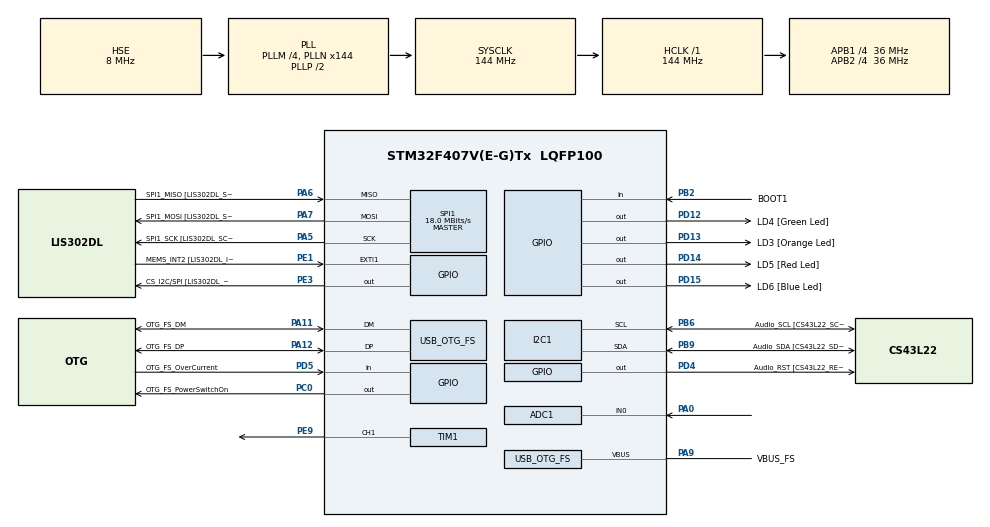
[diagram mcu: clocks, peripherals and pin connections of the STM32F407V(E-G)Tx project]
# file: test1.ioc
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ADC1.ClockPrescaler=ADC_CLOCK_SYNC_PCLK_DIV8
ADC1.ContinuousConvMode=ENABLE
ADC1.DMAContinuousRequests=ENABLE
ADC1.EOCSelection=ADC_EOC_SEQ_CONV
ADC1.EnableAnalogWatchDog=false
ADC1.NbrOfConversionFlag=1
ADC1.master=1
Dma.ADC1.1.Direction=DMA_PERIPH_TO_MEMORY
Dma.ADC1.1.FIFOMode=DMA_FIFOMODE_DISABLE
Dma.ADC1.1.Instance=DMA2_Stream0
Dma.ADC1.1.MemDataAlignment=DMA_MDATAALIGN_HALFWORD
Dma.ADC1.1.MemInc=DMA_MINC_ENABLE
Dma.ADC1.1.Mode=DMA_NORMAL
Dma.ADC1.1.PeriphDataAlignment=DMA_PDATAALIGN_HALFWORD
Dma.ADC1.1.PeriphInc=DMA_PINC_DISABLE
Dma.ADC1.1.Priority=DMA_PRIORITY_HIGH
Dma.Request0=TIM1_CH1
Dma.Request1=ADC1
Dma.TIM1_CH1.0.Direction=DMA_MEMORY_TO_PERIPH
Dma.TIM1_CH1.0.FIFOMode=DMA_FIFOMODE_DISABLE
Dma.TIM1_CH1.0.Instance=DMA2_Stream1
Dma.TIM1_CH1.0.MemDataAlignment=DMA_MDATAALIGN_HALFWORD
Dma.TIM1_CH1.0.MemInc=DMA_MINC_ENABLE
Dma.TIM1_CH1.0.Mode=DMA_NORMAL
Dma.TIM1_CH1.0.PeriphDataAlignment=DMA_PDATAALIGN_HALFWORD
Dma.TIM1_CH1.0.PeriphInc=DMA_PINC_DISABLE
Dma.TIM1_CH1.0.Priority=DMA_PRIORITY_LOW
Mcu.Family=STM32F4
Mcu.Name=STM32F407V(E-G)Tx
Mcu.Package=LQFP100
NVIC.DMA2_Stream0_IRQn=true\:0\:0\:false\:false\:true\:false\:true
NVIC.DMA2_Stream1_IRQn=true\:0\:0\:false\:false\:true\:false\:true
NVIC.OTG_FS_IRQn=true\:0\:0\:false\:false\:true\:true\:true
NVIC.PriorityGroup=NVIC_PRIORITYGROUP_0
PA0-WKUP.Signal=ADCx_IN0
PA10.GPIO_Label=OTG_FS_ID
PA10.GPIO_Mode=GPIO_MODE_AF_PP
PA10.GPIO_PuPd=GPIO_NOPULL
PA10.GPIO_Speed=GPIO_SPEED_FREQ_LOW
PA10.Signal=USB_OTG_FS_ID
PA11.GPIO_Label=OTG_FS_DM
PA11.GPIO_Mode=GPIO_MODE_AF_PP
PA11.GPIO_PuPd=GPIO_NOPULL
PA11.GPIO_Speed=GPIO_SPEED_FREQ_LOW
PA11.Mode=Host_Only
PA11.Signal=USB_OTG_FS_DM
PA12.GPIO_Label=OTG_FS_DP
PA12.GPIO_Mode=GPIO_MODE_AF_PP
PA12.GPIO_PuPd=GPIO_NOPULL
PA12.GPIO_Speed=GPIO_SPEED_FREQ_LOW
PA12.Mode=Host_Only
PA12.Signal=USB_OTG_FS_DP
PA13.GPIO_Label=SWDIO
PA13.Signal=SYS_JTMS-SWDIO
PA14.GPIO_Label=SWCLK
PA14.Signal=SYS_JTCK-SWCLK
PA4.GPIO_Label=I2S3_WS [CS43L22_LRCK]
PA4.GPIO_Mode=GPIO_MODE_AF_PP
PA4.GPIO_PuPd=GPIO_NOPULL
PA4.GPIO_Speed=GPIO_SPEED_FREQ_LOW
PA4.Signal=I2S3_WS
PA5.GPIO_Label=SPI1_SCK [LIS302DL_SCL/SPC]
PA5.GPIO_Mode=GPIO_MODE_AF_PP
PA5.GPIO_PuPd=GPIO_NOPULL
PA5.GPIO_Speed=GPIO_SPEED_FREQ_LOW
PA5.Mode=Full_Duplex_Master
PA5.Signal=SPI1_SCK
PA6.GPIO_Label=SPI1_MISO [LIS302DL_SDO]
PA6.GPIO_Mode=GPIO_MODE_AF_PP
PA6.GPIO_PuPd=GPIO_NOPULL
PA6.GPIO_Speed=GPIO_SPEED_FREQ_LOW
PA6.Mode=Full_Duplex_Master
PA6.Signal=SPI1_MISO
PA7.GPIO_Label=SPI1_MOSI [LIS302DL_SDA/SDI/SDO]
PA7.GPIO_Mode=GPIO_MODE_AF_PP
PA7.GPIO_PuPd=GPIO_NOPULL
PA7.GPIO_Speed=GPIO_SPEED_FREQ_LOW
PA7.Mode=Full_Duplex_Master
PA7.Signal=SPI1_MOSI
PA9.GPIO_Label=VBUS_FS
PA9.GPIO_Mode=GPIO_MODE_INPUT
PA9.GPIO_PuPd=GPIO_NOPULL
PA9.Mode=Activate_VBUS
PA9.Signal=USB_OTG_FS_VBUS
PB10.GPIO_Label=CLK_IN [MP45DT02_CLK]
PB10.GPIO_Mode=GPIO_MODE_AF_PP
PB10.GPIO_PuPd=GPIO_NOPULL
PB10.GPIO_Speed=GPIO_SPEED_FREQ_LOW
PB10.Signal=I2S2_CK
PB2.GPIO_Label=BOOT1
PB2.GPIO_Mode=GPIO_MODE_INPUT
PB2.GPIO_PuPd=GPIO_NOPULL
PB2.Signal=GPIO_Input
PB3.GPIO_Label=SWO
PB3.Signal=SYS_JTDO-SWO
PB6.GPIO_Label=Audio_SCL [CS43L22_SCL]
PB6.GPIO_Mode=GPIO_MODE_AF_OD
PB6.GPIO_Pu=GPIO_PULLUP
PB6.GPIO_PuPd=GPIO_NOPULL
PB6.GPIO_Speed=GPIO_SPEED_FREQ_LOW
PB6.Mode=I2C
PB6.Signal=I2C1_SCL
PB9.GPIO_Label=Audio_SDA [CS43L22_SDA]
PB9.GPIO_Mode=GPIO_MODE_AF_OD
PB9.GPIO_Pu=GPIO_PULLUP
PB9.GPIO_PuPd=GPIO_NOPULL
PB9.GPIO_Speed=GPIO_SPEED_FREQ_LOW
PB9.Mode=I2C
PB9.Signal=I2C1_SDA
PC0.GPIO_Label=OTG_FS_PowerSwitchOn
PC0.GPIO_PuPd=GPIO_NOPULL
PC0.GPIO_Speed=GPIO_SPEED_FREQ_LOW
PC0.PinState=GPIO_PIN_SET
PC0.Signal=GPIO_Output
PC10.GPIO_Label=I2S3_SCK [CS43L22_SCLK]
PC10.GPIO_Mode=GPIO_MODE_AF_PP
PC10.GPIO_PuPd=GPIO_NOPULL
PC10.GPIO_Speed=GPIO_SPEED_FREQ_LOW
PC10.Signal=I2S3_CK
PC12.GPIO_Label=I2S3_SD [CS43L22_SDIN]
PC12.GPIO_Mode=GPIO_MODE_AF_PP
PC12.GPIO_PuPd=GPIO_NOPULL
PC12.GPIO_Speed=GPIO_SPEED_FREQ_LOW
PC12.Signal=I2S3_SD
PC14-OSC32_IN.GPIO_Label=PC14-OSC32_IN
PC14-OSC32_IN.Signal=RCC_OSC32_IN
PC15-OSC32_OUT.GPIO_Label=PC15-OSC32_OUT
PC15-OSC32_OUT.Signal=RCC_OSC32_OUT
PC3.GPIO_Label=PDM_OUT [MP45DT02_DOUT]
PC3.GPIO_Mode=GPIO_MODE_AF_PP
PC3.GPIO_PuPd=GPIO_NOPULL
PC3.GPIO_Speed=GPIO_SPEED_FREQ_LOW
PC3.Signal=I2S2_SD
PC7.GPIO_Label=I2S3_MCK [CS43L22_MCLK]
PC7.GPIO_Mode=GPIO_MODE_AF_PP
PC7.GPIO_PuPd=GPIO_NOPULL
PC7.GPIO_Speed=GPIO_SPEED_FREQ_LOW
PC7.Signal=I2S3_MCK
PD12.GPIO_Label=LD4 [Green Led]
PD12.GPIO_PuPd=GPIO_NOPULL
PD12.GPIO_Speed=GPIO_SPEED_FREQ_LOW
PD12.Signal=GPIO_Output
PD13.GPIO_Label=LD3 [Orange Led]
PD13.GPIO_PuPd=GPIO_NOPULL
PD13.GPIO_Speed=GPIO_SPEED_FREQ_LOW
PD13.Signal=GPIO_Output
PD14.GPIO_Label=LD5 [Red Led]
PD14.GPIO_PuPd=GPIO_NOPULL
PD14.GPIO_Speed=GPIO_SPEED_FREQ_LOW
PD14.Signal=GPIO_Output
PD15.GPIO_Label=LD6 [Blue Led]
PD15.GPIO_PuPd=GPIO_NOPULL
PD15.GPIO_Speed=GPIO_SPEED_FREQ_LOW
PD15.Signal=GPIO_Output
PD4.GPIO_Label=Audio_RST [CS43L22_RESET]
PD4.GPIO_PuPd=GPIO_NOPULL
PD4.GPIO_Speed=GPIO_SPEED_FREQ_LOW
PD4.Signal=GPIO_Output
PD5.GPIO_Label=OTG_FS_OverCurrent
PD5.GPIO_Mode=GPIO_MODE_INPUT
PD5.GPIO_PuPd=GPIO_NOPULL
PD5.Signal=GPIO_Input
PE1.GPIO_Label=MEMS_INT2 [LIS302DL_INT2]
PE1.GPIO_ModeDefaultEXTI=GPIO_MODE_EVT_RISING
PE1.GPIO_PuPd=GPIO_NOPULL
PE1.Signal=GPXTI1
PE3.GPIO_Label=CS_I2C/SPI [LIS302DL_CS_I2C/SPI]
PE3.GPIO_PuPd=GPIO_NOPULL
PE3.GPIO_Speed=GPIO_SPEED_FREQ_LOW
PE3.Signal=GPIO_Output
PE9.Signal=S_TIM1_CH1
PH0-OSC_IN.GPIO_Label=PH0-OSC_IN
PH0-OSC_IN.Mode=HSE-External-Oscillator
PH0-OSC_IN.Signal=RCC_OSC_IN
PH1-OSC_OUT.GPIO_Label=PH1-OSC_OUT
PH1-OSC_OUT.Mode=HSE-External-Oscillator
PH1-OSC_OUT.Signal=RCC_OSC_OUT
ProjectManager.HeapSize=0x200
ProjectManager.StackSize=0x400
ProjectManager.TargetToolchain=STM32CubeIDE
RCC.48MHZClocksFreq_Value=48000000
RCC.AHBFreq_Value=144000000
RCC.APB1CLKDivider=RCC_HCLK_DIV4
RCC.APB1Freq_Value=36000000
RCC.APB1TimFreq_Value=72000000
RCC.APB2CLKDivider=RCC_HCLK_DIV4
RCC.APB2Freq_Value=36000000
RCC.APB2TimFreq_Value=72000000
RCC.CortexFreq_Value=144000000
RCC.HCLKFreq_Value=144000000
RCC.HSE_VALUE=8000000
RCC.HSI_VALUE=16000000
RCC.LSE_VALUE=32768
RCC.PLLI2SN=50
RCC.PLLM=4
RCC.PLLN=144
RCC.PLLQ=6
RCC.SYSCLKFreq_VALUE=144000000
RCC.SYSCLKSource=RCC_SYSCLKSOURCE_PLLCLK
RCC.VCOOutputFreq_Value=288000000
SH.ADCx_IN0.0=ADC1_IN0,IN0
SH.S_TIM1_CH1.0=TIM1_CH1,PWM Generation1 CH1
SPI1.BaudRatePrescaler=SPI_BAUDRATEPRESCALER_2
SPI1.BaudRatePrescaler-Full_Duplex_Master=SPI_BAUDRATEPRESCALER_2
SPI1.CalculateBaudRate=18.0 MBits/s
SPI1.CalculateBaudRate-Full_Duplex_Master=42.0 MBits/s
SPI1.Direction=SPI_DIRECTION_2LINES
SPI1.Mode=SPI_MODE_MASTER
SPI1.Mode-Full_Duplex_Master=SPI_MODE_MASTER
SPI1.VirtualType=VM_MASTER
TIM1.Channel-PWM\ Generation1\ CH1=TIM_CHANNEL_1
TIM1.Period=90-1
USB_HOST.BSP.number=1
USB_HOST.USBH_HandleTypeDef-CDC_FS=hUsbHostFS
USB_HOST.VirtualModeFS=Cdc
USB_HOST0.BSP.STBoard=false
USB_HOST0.BSP.api=Unknown
USB_HOST0.BSP.i2caddr=0
USB_HOST0.BSP.i2creg=0
USB_HOST0.BSP.instance=PC0
USB_HOST0.BSP.ip=GPIO
USB_HOST0.BSP.mode=Output
USB_HOST0.BSP.name=Drive_VBUS_FS
USB_HOST0.BSP.solution=PC0
USB_OTG_FS.VirtualMode=Host_Only
USB_OTG_FS.phy_itface=HCD_PHY_EMBEDDED
VP_TIM1_VS_ClockSourceINT.Mode=Internal
VP_USB_HOST_VS_USB_HOST_CDC_FS.Mode=CDC_FS
board=STM32F407G-DISC1

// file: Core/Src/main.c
/* USER CODE BEGIN Header */
/**
  ******************************************************************************
  * @file           : main.c
  * @brief          : Main program body
  ******************************************************************************
  * @attention
  *
  * <h2><center>&copy; Copyright (c) 2021 STMicroelectronics.
  * All rights reserved.</center></h2>
  *
  * This software component is licensed by ST under Ultimate Liberty license
  * SLA0044, the "License"; You may not use this file except in compliance with
  * the License. You may obtain a copy of the License at:
  *                             www.st.com/SLA0044
  *
  ******************************************************************************

  * Souces used:
  * for ADC:    https://istarik.ru/blog/stm32/113.html
  * for matrix: https://controllerstech.com/interface-ws2812-with-stm32/
  * for fft:    https://github.com/kosme/arduinoFFT
  */

/* USER CODE END Header */
#include "main.h"
#include "usb_host.h"

/* USER CODE BEGIN Includes */
#include <string.h>
#include "fft.h"
/* USER CODE END Includes */

/* USER CODE BEGIN PD */
#define MATRIX_ROW			8
#define MAX_LED 			64 						// max LEDs that we have in a cascade
#define SAMPLES		        2048					// number of samples for adc
#define ADC_REGULAR_RANK_1	((uint32_t)0x00000001)	// ADC regular conversion rank 1

/* USER CODE END PD */

ADC_HandleTypeDef hadc1;
DMA_HandleTypeDef hdma_adc1;

I2C_HandleTypeDef hi2c1;

SPI_HandleTypeDef hspi1;

TIM_HandleTypeDef htim1;
DMA_HandleTypeDef hdma_tim1_ch1;

/* USER CODE BEGIN PV */

uint8_t datasentflag = 0;  // to make sure that the dma does not send another data while the first data is still transmitted

volatile uint8_t flag_adc_dma = 0;
uint16_t adc_buffer[SAMPLES] = {0};
float adc_float_buffer[SAMPLES] = {0};

uint8_t colors[MATRIX_ROW][3]  = {{255, 16, 16}, {255, 16, 64}, {240, 32, 255}, {48, 48, 255}, {16, 225, 255}, {16, 255, 64}, {184, 255, 16}, {255, 155, 16}};
uint8_t LED_Data[MAX_LED][4];  // matrix of 4 columns, number of rows = number of LEDs we have
uint16_t pwmData[24 * MAX_LED + 50]; // store 24 bits for each led + 50 values for reset code

/* USER CODE END PV */

void SystemClock_Config(void);
static void MX_GPIO_Init(void);
static void MX_I2C1_Init(void);
static void MX_SPI1_Init(void);
static void MX_DMA_Init(void);
static void MX_ADC1_Init(void);
static void MX_TIM1_Init(void);
void MX_USB_HOST_Process(void);

/* USER CODE BEGIN 0 */

void HAL_TIM_PWM_PulseFinishedCallback(TIM_HandleTypeDef *htim)
// this callback is called when data transmission is finished
{
	HAL_TIM_PWM_Stop_DMA(&htim1, TIM_CHANNEL_1);  // stop dma, when the transmission is finished
	datasentflag = 1;
}

void Set_LED(int LEDnum, int Red, int Green, int Blue)
// Change the colors from RGB format to the GRB for matrix.
// Set a given led index the GRB colors parameters.
{
	LED_Data[LEDnum][0] = LEDnum;
	LED_Data[LEDnum][1] = Green;  // store green first as ws2821b requires this order (g,r,b)
	LED_Data[LEDnum][2] = Red;
	LED_Data[LEDnum][3] = Blue;
}

void WS2812_Send(void)
// Convert and send the data to the DMA
{
	uint32_t index = 0;
	uint32_t color;  //32 bit variable to store 24 bits of color

	for (uint8_t led_ind = 0; led_ind < MAX_LED; led_ind++)  // iterate through all of the LEDs
	{
		color = ((LED_Data[led_ind][1] << 16) | (LED_Data[led_ind][2] << 8) | (LED_Data[led_ind][3])); // green red blue

		for (int bit = 23; bit >= 0; bit--) // iterate through the 24 bits which specify the color
		{
			if (color & (1 << bit))
			{
				pwmData[index] = 57; // if the bit is 1, the duty cycle is 64%
			}
			else
			{
				pwmData[index] = 28;  // if the bit is 0, the duty cycle is 32%
			}
			index++;
		}
	}

	for (uint8_t i = 0; i < 50; i++)  // store values to keep the pulse low for 50+ us, reset code
	{
		pwmData[index++] = 0;
	}

	HAL_TIM_PWM_Start_DMA(&htim1, TIM_CHANNEL_1, (uint32_t*) pwmData, index);  // send the data to the dma

	while (!datasentflag) {};  // this flag will be set when the data transmission is finished, dma is stopped and now we can send another data
	datasentflag = 0;
}

void WS_Reset(void)
// Turn off all the leds in the matrix
{
	for (uint8_t led = 0; led < MAX_LED; led++)
	{
		Set_LED(led, 0, 0, 0);
    }

	WS2812_Send();
}

void WS_Set(uint8_t matrix[MAX_LED])
// Turn on with a certain color the led from the list, where each element indicates whether a led
// by the given index should be on (1), or off (0).
{
	uint8_t color[3];
    for (uint8_t led = 0; led < MAX_LED; led++)
    {
		if (matrix[led])
		{
			memcpy(color, colors[led % MATRIX_ROW], 3); // take a specific color for different columns
			int scaler = 2 * led / MATRIX_ROW + 1;	// scale brightness by rows (the higher led, the brighter)
			Set_LED(led, ceil(color[0] / scaler), ceil(color[1] / scaler), ceil(color[2] / scaler));
		}
		else
		{
			Set_LED(led, 0, 0, 0);
		}
    }

    WS2812_Send();
}

/* USER CODE END 0 */

int main(void)
{

  /* MCU Configuration--------------------------------------------------------*/

  /* Reset of all peripherals, Initializes the Flash interface and the Systick. */
  HAL_Init();

  /* Configure the system clock */
  SystemClock_Config();

  /* Initialize all configured peripherals */
  MX_GPIO_Init();
  MX_I2C1_Init();
  MX_SPI1_Init();
  MX_USB_HOST_Init();
  MX_DMA_Init();
  MX_ADC1_Init();
  MX_TIM1_Init();
  /* USER CODE BEGIN 2 */

  // Set the adc rank to 1 (the first order of the adc conversion)
  ADC_ChannelConfTypeDef sConfig = {0};
  sConfig.Channel = ADC_CHANNEL_0;
  sConfig.Rank = ADC_REGULAR_RANK_1; // the first adc channel will be converted
  sConfig.SamplingTime = ADC_SAMPLETIME_112CYCLES; // time to sample for a channel

  if (HAL_ADC_ConfigChannel(&hadc1, &sConfig) != HAL_OK)
  {
	  Error_Handler();
  }

  /* USER CODE END 2 */

  /* Infinite loop */
  /* USER CODE BEGIN WHILE */

  WS_Reset();

  while (1)
  {
    /* USER CODE END WHILE */
    MX_USB_HOST_Process();
    /* USER CODE BEGIN 3 */

    // Fill the array by values from adc
    HAL_ADC_Start_DMA(&hadc1, (uint32_t*) &adc_buffer, (SAMPLES));
    HAL_Delay(1);

	while (!flag_adc_dma) {};
	flag_adc_dma = 0;

    HAL_ADC_Stop_DMA(&hadc1);

    // fft requires float values from adc
    for (uint16_t i = 0; i < SAMPLES; i++)
    {
    	adc_float_buffer[i] = (float) adc_buffer[i];
    }

    uint8_t leds[MAX_LED] = {};
    perform_fft(adc_float_buffer, leds);

    // Lighten the leds
    WS_Set(leds);
	HAL_Delay(25);
  }
  /* USER CODE END 3 */
}

void SystemClock_Config(void)
{
  RCC_OscInitTypeDef RCC_OscInitStruct = {0};
  RCC_ClkInitTypeDef RCC_ClkInitStruct = {0};

  /** Configure the main internal regulator output voltage
  */
  __HAL_RCC_PWR_CLK_ENABLE();
  __HAL_PWR_VOLTAGESCALING_CONFIG(PWR_REGULATOR_VOLTAGE_SCALE1);
  /** Initializes the RCC Oscillators according to the specified parameters
  * in the RCC_OscInitTypeDef structure.
  */
  RCC_OscInitStruct.OscillatorType = RCC_OSCILLATORTYPE_HSE;
  RCC_OscInitStruct.HSEState = RCC_HSE_ON;
  RCC_OscInitStruct.PLL.PLLState = RCC_PLL_ON;
  RCC_OscInitStruct.PLL.PLLSource = RCC_PLLSOURCE_HSE;
  RCC_OscInitStruct.PLL.PLLM = 4;
  RCC_OscInitStruct.PLL.PLLN = 144;
  RCC_OscInitStruct.PLL.PLLP = RCC_PLLP_DIV2;
  RCC_OscInitStruct.PLL.PLLQ = 6;
  if (HAL_RCC_OscConfig(&RCC_OscInitStruct) != HAL_OK)
  {
    Error_Handler();
  }
  /** Initializes the CPU, AHB and APB buses clocks
  */
  RCC_ClkInitStruct.ClockType = RCC_CLOCKTYPE_HCLK|RCC_CLOCKTYPE_SYSCLK
                              |RCC_CLOCKTYPE_PCLK1|RCC_CLOCKTYPE_PCLK2;
  RCC_ClkInitStruct.SYSCLKSource = RCC_SYSCLKSOURCE_PLLCLK;
  RCC_ClkInitStruct.AHBCLKDivider = RCC_SYSCLK_DIV1;
  RCC_ClkInitStruct.APB1CLKDivider = RCC_HCLK_DIV4;
  RCC_ClkInitStruct.APB2CLKDivider = RCC_HCLK_DIV4;

  if (HAL_RCC_ClockConfig(&RCC_ClkInitStruct, FLASH_LATENCY_4) != HAL_OK)
  {
    Error_Handler();
  }
}

static void MX_ADC1_Init(void)
{

  /** Configure the global features of the ADC (Clock, Resolution, Data Alignment and number of conversion)
  */
  hadc1.Instance = ADC1;
  hadc1.Init.ClockPrescaler = ADC_CLOCK_SYNC_PCLK_DIV8;
  hadc1.Init.Resolution = ADC_RESOLUTION_12B;
  hadc1.Init.ScanConvMode = DISABLE;
  hadc1.Init.ContinuousConvMode = ENABLE;
  hadc1.Init.DiscontinuousConvMode = DISABLE;
  hadc1.Init.ExternalTrigConvEdge = ADC_EXTERNALTRIGCONVEDGE_NONE;
  hadc1.Init.ExternalTrigConv = ADC_SOFTWARE_START;
  hadc1.Init.DataAlign = ADC_DATAALIGN_RIGHT;
  hadc1.Init.NbrOfConversion = 1;
  hadc1.Init.DMAContinuousRequests = ENABLE;
  hadc1.Init.EOCSelection = ADC_EOC_SEQ_CONV;
  if (HAL_ADC_Init(&hadc1) != HAL_OK)
  {
    Error_Handler();
  }

}

static void MX_I2C1_Init(void)
{

  hi2c1.Instance = I2C1;
  hi2c1.Init.ClockSpeed = 100000;
  hi2c1.Init.DutyCycle = I2C_DUTYCYCLE_2;
  hi2c1.Init.OwnAddress1 = 0;
  hi2c1.Init.AddressingMode = I2C_ADDRESSINGMODE_7BIT;
  hi2c1.Init.DualAddressMode = I2C_DUALADDRESS_DISABLE;
  hi2c1.Init.OwnAddress2 = 0;
  hi2c1.Init.GeneralCallMode = I2C_GENERALCALL_DISABLE;
  hi2c1.Init.NoStretchMode = I2C_NOSTRETCH_DISABLE;
  if (HAL_I2C_Init(&hi2c1) != HAL_OK)
  {
    Error_Handler();
  }

}

static void MX_SPI1_Init(void)
{

  /* SPI1 parameter configuration*/
  hspi1.Instance = SPI1;
  hspi1.Init.Mode = SPI_MODE_MASTER;
  hspi1.Init.Direction = SPI_DIRECTION_2LINES;
  hspi1.Init.DataSize = SPI_DATASIZE_8BIT;
  hspi1.Init.CLKPolarity = SPI_POLARITY_LOW;
  hspi1.Init.CLKPhase = SPI_PHASE_1EDGE;
  hspi1.Init.NSS = SPI_NSS_SOFT;
  hspi1.Init.BaudRatePrescaler = SPI_BAUDRATEPRESCALER_2;
  hspi1.Init.FirstBit = SPI_FIRSTBIT_MSB;
  hspi1.Init.TIMode = SPI_TIMODE_DISABLE;
  hspi1.Init.CRCCalculation = SPI_CRCCALCULATION_DISABLE;
  hspi1.Init.CRCPolynomial = 10;
  if (HAL_SPI_Init(&hspi1) != HAL_OK)
  {
    Error_Handler();
  }

}

static void MX_TIM1_Init(void)
{

  TIM_ClockConfigTypeDef sClockSourceConfig = {0};
  TIM_MasterConfigTypeDef sMasterConfig = {0};
  TIM_OC_InitTypeDef sConfigOC = {0};
  TIM_BreakDeadTimeConfigTypeDef sBreakDeadTimeConfig = {0};

  htim1.Instance = TIM1;
  htim1.Init.Prescaler = 0;
  htim1.Init.CounterMode = TIM_COUNTERMODE_UP;
  htim1.Init.Period = 90-1;
  htim1.Init.ClockDivision = TIM_CLOCKDIVISION_DIV1;
  htim1.Init.RepetitionCounter = 0;
  htim1.Init.AutoReloadPreload = TIM_AUTORELOAD_PRELOAD_DISABLE;
  if (HAL_TIM_Base_Init(&htim1) != HAL_OK)
  {
    Error_Handler();
  }
  sClockSourceConfig.ClockSource = TIM_CLOCKSOURCE_INTERNAL;
  if (HAL_TIM_ConfigClockSource(&htim1, &sClockSourceConfig) != HAL_OK)
  {
    Error_Handler();
  }
  if (HAL_TIM_PWM_Init(&htim1) != HAL_OK)
  {
    Error_Handler();
  }
  sMasterConfig.MasterOutputTrigger = TIM_TRGO_RESET;
  sMasterConfig.MasterSlaveMode = TIM_MASTERSLAVEMODE_DISABLE;
  if (HAL_TIMEx_MasterConfigSynchronization(&htim1, &sMasterConfig) != HAL_OK)
  {
    Error_Handler();
  }
  sConfigOC.OCMode = TIM_OCMODE_PWM1;
  sConfigOC.Pulse = 0;
  sConfigOC.OCPolarity = TIM_OCPOLARITY_HIGH;
  sConfigOC.OCNPolarity = TIM_OCNPOLARITY_HIGH;
  sConfigOC.OCFastMode = TIM_OCFAST_DISABLE;
  sConfigOC.OCIdleState = TIM_OCIDLESTATE_RESET;
  sConfigOC.OCNIdleState = TIM_OCNIDLESTATE_RESET;
  if (HAL_TIM_PWM_ConfigChannel(&htim1, &sConfigOC, TIM_CHANNEL_1) != HAL_OK)
  {
    Error_Handler();
  }
  sBreakDeadTimeConfig.OffStateRunMode = TIM_OSSR_DISABLE;
  sBreakDeadTimeConfig.OffStateIDLEMode = TIM_OSSI_DISABLE;
  sBreakDeadTimeConfig.LockLevel = TIM_LOCKLEVEL_OFF;
  sBreakDeadTimeConfig.DeadTime = 0;
  sBreakDeadTimeConfig.BreakState = TIM_BREAK_DISABLE;
  sBreakDeadTimeConfig.BreakPolarity = TIM_BREAKPOLARITY_HIGH;
  sBreakDeadTimeConfig.AutomaticOutput = TIM_AUTOMATICOUTPUT_DISABLE;
  if (HAL_TIMEx_ConfigBreakDeadTime(&htim1, &sBreakDeadTimeConfig) != HAL_OK)
  {
    Error_Handler();
  }
  HAL_TIM_MspPostInit(&htim1);

}

static void MX_DMA_Init(void)
{

  /* DMA controller clock enable */
  __HAL_RCC_DMA2_CLK_ENABLE();

  /* DMA interrupt init */
  /* DMA2_Stream0_IRQn interrupt configuration */
  HAL_NVIC_SetPriority(DMA2_Stream0_IRQn, 0, 0);
  HAL_NVIC_EnableIRQ(DMA2_Stream0_IRQn);
  /* DMA2_Stream1_IRQn interrupt configuration */
  HAL_NVIC_SetPriority(DMA2_Stream1_IRQn, 0, 0);
  HAL_NVIC_EnableIRQ(DMA2_Stream1_IRQn);

}

static void MX_GPIO_Init(void)
{
  GPIO_InitTypeDef GPIO_InitStruct = {0};

  /* GPIO Ports Clock Enable */
  __HAL_RCC_GPIOE_CLK_ENABLE();
  __HAL_RCC_GPIOC_CLK_ENABLE();
  __HAL_RCC_GPIOH_CLK_ENABLE();
  __HAL_RCC_GPIOA_CLK_ENABLE();
  __HAL_RCC_GPIOB_CLK_ENABLE();
  __HAL_RCC_GPIOD_CLK_ENABLE();

  /*Configure GPIO pin Output Level */
  HAL_GPIO_WritePin(CS_I2C_SPI_GPIO_Port, CS_I2C_SPI_Pin, GPIO_PIN_RESET);

  /*Configure GPIO pin Output Level */
  HAL_GPIO_WritePin(OTG_FS_PowerSwitchOn_GPIO_Port, OTG_FS_PowerSwitchOn_Pin, GPIO_PIN_SET);

  /*Configure GPIO pin Output Level */
  HAL_GPIO_WritePin(GPIOD, LD4_Pin|LD3_Pin|LD5_Pin|LD6_Pin
                          |Audio_RST_Pin, GPIO_PIN_RESET);

  /*Configure GPIO pin : CS_I2C_SPI_Pin */
  GPIO_InitStruct.Pin = CS_I2C_SPI_Pin;
  GPIO_InitStruct.Mode = GPIO_MODE_OUTPUT_PP;
  GPIO_InitStruct.Pull = GPIO_NOPULL;
  GPIO_InitStruct.Speed = GPIO_SPEED_FREQ_LOW;
  HAL_GPIO_Init(CS_I2C_SPI_GPIO_Port, &GPIO_InitStruct);

  /*Configure GPIO pin : OTG_FS_PowerSwitchOn_Pin */
  GPIO_InitStruct.Pin = OTG_FS_PowerSwitchOn_Pin;
  GPIO_InitStruct.Mode = GPIO_MODE_OUTPUT_PP;
  GPIO_InitStruct.Pull = GPIO_NOPULL;
  GPIO_InitStruct.Speed = GPIO_SPEED_FREQ_LOW;
  HAL_GPIO_Init(OTG_FS_PowerSwitchOn_GPIO_Port, &GPIO_InitStruct);

  /*Configure GPIO pin : PDM_OUT_Pin */
  GPIO_InitStruct.Pin = PDM_OUT_Pin;
  GPIO_InitStruct.Mode = GPIO_MODE_AF_PP;
  GPIO_InitStruct.Pull = GPIO_NOPULL;
  GPIO_InitStruct.Speed = GPIO_SPEED_FREQ_LOW;
  GPIO_InitStruct.Alternate = GPIO_AF5_SPI2;
  HAL_GPIO_Init(PDM_OUT_GPIO_Port, &GPIO_InitStruct);

  /*Configure GPIO pin : I2S3_WS_Pin */
  GPIO_InitStruct.Pin = I2S3_WS_Pin;
  GPIO_InitStruct.Mode = GPIO_MODE_AF_PP;
  GPIO_InitStruct.Pull = GPIO_NOPULL;
  GPIO_InitStruct.Speed = GPIO_SPEED_FREQ_LOW;
  GPIO_InitStruct.Alternate = GPIO_AF6_SPI3;
  HAL_GPIO_Init(I2S3_WS_GPIO_Port, &GPIO_InitStruct);

  /*Configure GPIO pin : BOOT1_Pin */
  GPIO_InitStruct.Pin = BOOT1_Pin;
  GPIO_InitStruct.Mode = GPIO_MODE_INPUT;
  GPIO_InitStruct.Pull = GPIO_NOPULL;
  HAL_GPIO_Init(BOOT1_GPIO_Port, &GPIO_InitStruct);

  /*Configure GPIO pin : CLK_IN_Pin */
  GPIO_InitStruct.Pin = CLK_IN_Pin;
  GPIO_InitStruct.Mode = GPIO_MODE_AF_PP;
  GPIO_InitStruct.Pull = GPIO_NOPULL;
  GPIO_InitStruct.Speed = GPIO_SPEED_FREQ_LOW;
  GPIO_InitStruct.Alternate = GPIO_AF5_SPI2;
  HAL_GPIO_Init(CLK_IN_GPIO_Port, &GPIO_InitStruct);

  /*Configure GPIO pins : LD4_Pin LD3_Pin LD5_Pin LD6_Pin
                           Audio_RST_Pin */
  GPIO_InitStruct.Pin = LD4_Pin|LD3_Pin|LD5_Pin|LD6_Pin
                          |Audio_RST_Pin;
  GPIO_InitStruct.Mode = GPIO_MODE_OUTPUT_PP;
  GPIO_InitStruct.Pull = GPIO_NOPULL;
  GPIO_InitStruct.Speed = GPIO_SPEED_FREQ_LOW;
  HAL_GPIO_Init(GPIOD, &GPIO_InitStruct);

  /*Configure GPIO pins : I2S3_MCK_Pin I2S3_SCK_Pin I2S3_SD_Pin */
  GPIO_InitStruct.Pin = I2S3_MCK_Pin|I2S3_SCK_Pin|I2S3_SD_Pin;
  GPIO_InitStruct.Mode = GPIO_MODE_AF_PP;
  GPIO_InitStruct.Pull = GPIO_NOPULL;
  GPIO_InitStruct.Speed = GPIO_SPEED_FREQ_LOW;
  GPIO_InitStruct.Alternate = GPIO_AF6_SPI3;
  HAL_GPIO_Init(GPIOC, &GPIO_InitStruct);

  /*Configure GPIO pin : OTG_FS_OverCurrent_Pin */
  GPIO_InitStruct.Pin = OTG_FS_OverCurrent_Pin;
  GPIO_InitStruct.Mode = GPIO_MODE_INPUT;
  GPIO_InitStruct.Pull = GPIO_NOPULL;
  HAL_GPIO_Init(OTG_FS_OverCurrent_GPIO_Port, &GPIO_InitStruct);

  /*Configure GPIO pin : MEMS_INT2_Pin */
  GPIO_InitStruct.Pin = MEMS_INT2_Pin;
  GPIO_InitStruct.Mode = GPIO_MODE_EVT_RISING;
  GPIO_InitStruct.Pull = GPIO_NOPULL;
  HAL_GPIO_Init(MEMS_INT2_GPIO_Port, &GPIO_InitStruct);

}

void Error_Handler(void)
{
  __disable_irq();
  while (1)
  {
  }
}
